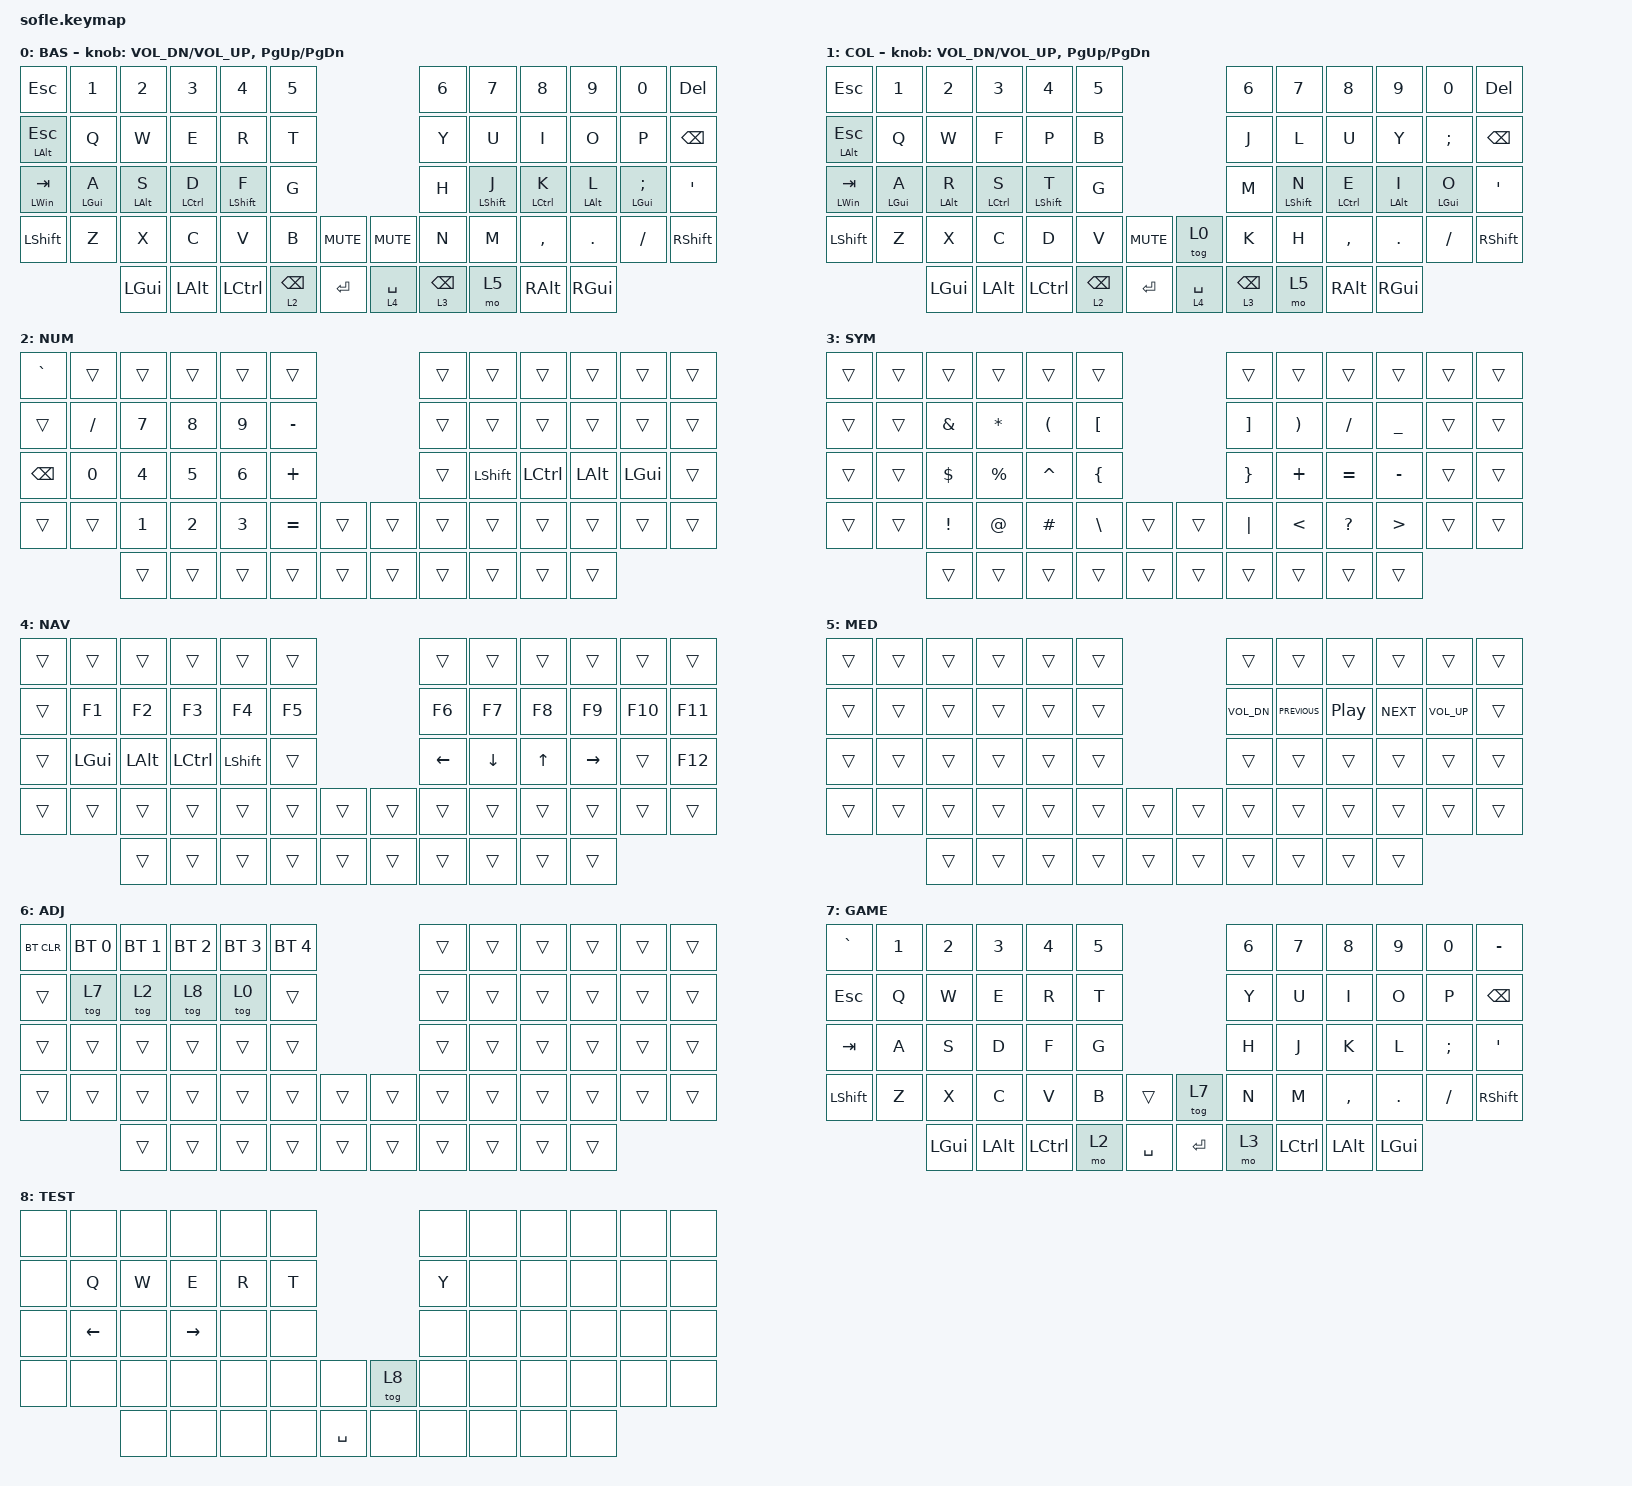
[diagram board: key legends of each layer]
/*
 * Copyright (c) 2020 The ZMK Contributors
 *
 * SPDX-License-Identifier: MIT
 */

#include <behaviors.dtsi>
#include <dt-bindings/zmk/bt.h>
#include <dt-bindings/zmk/keys.h>

/ {
    behaviors {
        hrl: hrl {
            compatible = "zmk,behavior-hold-tap";
            label = "HRL";
            bindings = <&kp>, <&kp>;

            #binding-cells = <2>;
            tapping-term-ms = <250>;
            quick-tap-ms = <175>;
            flavor = "balanced";
            require-prior-idle-ms = <150>;
            hold-trigger-key-positions = <31 32 33 34 6 8 6 7 8 9 10 18 19 20 21 22 23 30 31 32 33 34 35 43 44 45 46 47 48 49 55 56 57 58 59 11>;
            hold-trigger-on-release;
        };

        hrr: hrr {
            compatible = "zmk,behavior-hold-tap";
            label = "HRR";
            bindings = <&kp>, <&kp>;

            #binding-cells = <2>;
            tapping-term-ms = <250>;
            quick-tap-ms = <175>;
            flavor = "balanced";
            require-prior-idle-ms = <150>;
            hold-trigger-key-positions = <28 27 26 25 0 1 2 4 5 12 13 14 15 16 17 24 25 26 27 28 29 36 37 38 39 40 41 42 50 51 52 53 54>;
            hold-trigger-on-release;
        };

        HT_sym_backspace: HT_sym_backspace {
            compatible = "zmk,behavior-hold-tap";
            label = "HT_SYM_BACKSPACE";
            bindings = <&mo>, <&kp>;

            #binding-cells = <2>;
            tapping-term-ms = <180>;
            quick-tap-ms = <160>;
            flavor = "tap-preferred";
        };
    };

    keymap {
        compatible = "zmk,keymap";

        default_layer {
            display-name = "BAS";

            // ------------------------------------------------------------------------------------------------------------
            // |  `    |  1  |  2  |  3   |  4   |  5   |                   |  6   |  7    |  8    |  9   |   0   |       |
            // |  ESC  |  Q  |  W  |  E   |  R   |  T   |                   |  Y   |  U    |  I    |  O   |   P   | BKSPC |
            // |  TAB  |  A  |  S  |  D   |  F   |  G   |                   |  H   |  J    |  K    |  L   |   ;   |   '   |
            // | SHIFT |  Z  |  X  |  C   |  V   |  B   |  MUTE  |  |       |  N   |  M    |  ,    |  .   |   /   | SHIFT |
            //               | GUI | ALT  | CTRL | LOWER|  ENTER |  | SPACE | RAISE| CTRL  | ALT   | GUI  |

            bindings = <
&kp ESC              &kp N1           &kp N2           &kp N3        &kp N4             &kp N5                                      &kp N6                         &kp N7             &kp N8        &kp N9           &kp N0              &kp DEL
&mt LEFT_ALT ESCAPE  &kp Q            &kp W            &kp E         &kp R              &kp T                                       &kp Y                          &kp U              &kp I         &kp O            &kp P               &kp BSPC
&mt LEFT_WIN TAB     &hrl LEFT_GUI A  &hrl LEFT_ALT S  &hrl LCTRL D  &hrl LEFT_SHIFT F  &kp G                                       &kp H                          &hrr LEFT_SHIFT J  &hrr LCTRL K  &hrr LEFT_ALT L  &hrr LEFT_GUI SEMI  &kp SQT
&kp LSHFT            &kp Z            &kp X            &kp C         &kp V              &kp B            &kp C_MUTE    &kp C_MUTE   &kp N                          &kp M              &kp COMMA     &kp DOT          &kp FSLH            &kp RSHFT
                                      &kp LGUI         &kp LALT      &kp LCTRL          &lt 2 BACKSPACE  &kp ENTER     &lt 4 SPACE  &HT_sym_backspace 3 BACKSPACE  &mo 5              &kp RALT      &kp RGUI
            >;

            sensor-bindings =
                <&inc_dec_kp C_VOL_DN C_VOL_UP>,
                <&inc_dec_kp PG_UP PG_DN>;
        };

        colmak {
            display-name = "COL";
            bindings = <
&kp ESC              &kp N1           &kp N2           &kp N3        &kp N4             &kp N5                                      &kp N6                         &kp N7             &kp N8        &kp N9           &kp N0           &kp DELETE
&mt LEFT_ALT ESCAPE  &kp Q            &kp W            &kp F         &kp P              &kp B                                       &kp J                          &kp L              &kp U         &kp Y            &kp SEMI         &kp BSPC
&mt LEFT_WIN TAB     &hrl LEFT_GUI A  &hrl LEFT_ALT R  &hrl LCTRL S  &hrl LEFT_SHIFT T  &kp G                                       &kp M                          &hrr LEFT_SHIFT N  &hrr LCTRL E  &hrr LEFT_ALT I  &hrr LEFT_GUI O  &kp SQT
&kp LSHFT            &kp Z            &kp X            &kp C         &kp D              &kp V            &kp C_MUTE    &tog 0       &kp K                          &kp H              &kp COMMA     &kp DOT          &kp FSLH         &kp RSHFT
                                      &kp LGUI         &kp LALT      &kp LCTRL          &lt 2 BACKSPACE  &kp ENTER     &lt 4 SPACE  &HT_sym_backspace 3 BACKSPACE  &mo 5              &kp RALT      &kp RGUI
            >;

            sensor-bindings =
                <&inc_dec_kp C_VOL_DN C_VOL_UP>,
                <&inc_dec_kp PG_UP PG_DN>;
        };

        num_layer {
            display-name = "NUM";

            // ------------------------------------------------------------------------------------------------------------
            // | `     |  F1 |  F2 |  F3  |  F4  |  F5  |                   |  F6  |  F7   |  F8   |  F9  |  F10  |  F11  |
            // | RAISE |   1 |   2 |   3  |   4  |   5  |                   |   6  |   7   |   8   |   9  |    0  |  F12  |
            // |       |  !  |  @  |  #   |  $   |  %   |                   |  ^   |  &    |  *    |  (   |   )   |   |   |
            // |       |  =  |  -  |  +   |  {   |  }   |        |  |       |  [   |  ]    |  ;    |  :   |   \   |       |
            //               |     |      |      |      |        |  |       |      |       |       |      |

            bindings = <
&kp GRAVE  &trans    &trans  &trans  &trans  &trans                       &trans  &trans     &trans     &trans    &trans    &trans
&trans     &kp FSLH  &kp N7  &kp N8  &kp N9  &kp MINUS                    &trans  &trans     &trans     &trans    &trans    &trans
&kp BSPC   &kp N0    &kp N4  &kp N5  &kp N6  &kp PLUS                     &trans  &kp LSHFT  &kp LCTRL  &kp LALT  &kp LGUI  &trans
&trans     &trans    &kp N1  &kp N2  &kp N3  &kp EQUAL  &trans    &trans  &trans  &trans     &trans     &trans    &trans    &trans
                     &trans  &trans  &trans  &trans     &trans    &trans  &trans  &trans     &trans     &trans
            >;
        };

        sym_layer {
            bindings = <
&trans  &trans  &trans         &trans        &trans                &trans                              &trans             &trans                 &trans        &trans          &trans  &trans
&trans  &trans  &kp AMPERSAND  &kp ASTERISK  &kp LEFT_PARENTHESIS  &kp LEFT_BRACKET                    &kp RIGHT_BRACKET  &kp RIGHT_PARENTHESIS  &kp SLASH     &kp UNDERSCORE  &trans  &trans
&trans  &trans  &kp DOLLAR     &kp PERCENT   &kp CARET             &kp LEFT_BRACE                      &kp RIGHT_BRACE    &kp PLUS               &kp EQUAL     &kp MINUS       &trans  &trans
&trans  &trans  &kp EXCL       &kp AT        &kp HASH              &kp BACKSLASH     &trans    &trans  &kp PIPE           &kp LESS_THAN          &kp QUESTION  &kp GT          &trans  &trans
                &trans         &trans        &trans                &trans            &trans    &trans  &trans             &trans                 &trans        &trans
            >;

            label = "SYM";
        };

        nav_layer {
            bindings = <
&trans  &trans    &trans    &trans     &trans     &trans                    &trans          &trans          &trans        &trans           &trans   &trans
&trans  &kp F1    &kp F2    &kp F3     &kp F4     &kp F5                    &kp F6          &kp F7          &kp F8        &kp F9           &kp F10  &kp F11
&trans  &kp LGUI  &kp LALT  &kp LCTRL  &kp LSHFT  &trans                    &kp LEFT_ARROW  &kp DOWN_ARROW  &kp UP_ARROW  &kp RIGHT_ARROW  &trans   &kp F12
&trans  &trans    &trans    &trans     &trans     &trans  &trans    &trans  &trans          &trans          &trans        &trans           &trans   &trans
                  &trans    &trans     &trans     &trans  &trans    &trans  &trans          &trans          &trans        &trans
            >;

            label = "NAV";
        };

        media_layer {
            bindings = <
&trans  &trans  &trans  &trans  &trans  &trans                    &trans        &trans          &trans            &trans      &trans           &trans
&trans  &trans  &trans  &trans  &trans  &trans                    &kp C_VOL_DN  &kp C_PREVIOUS  &kp C_PLAY_PAUSE  &kp C_NEXT  &kp C_VOLUME_UP  &trans
&trans  &trans  &trans  &trans  &trans  &trans                    &trans        &trans          &trans            &trans      &trans           &trans
&trans  &trans  &trans  &trans  &trans  &trans  &trans    &trans  &trans        &trans          &trans            &trans      &trans           &trans
                &trans  &trans  &trans  &trans  &trans    &trans  &trans        &trans          &trans            &trans
            >;

            label = "MED";
        };

        adjust_layer {
            display-name = "ADJ";
            bindings = <
&bt BT_CLR  &bt BT_SEL 0  &bt BT_SEL 1  &bt BT_SEL 2  &bt BT_SEL 3  &bt BT_SEL 4                    &trans  &trans  &trans  &trans  &trans  &trans
&trans      &tog 7        &tog 2        &tog 8        &tog 0        &trans                          &trans  &trans  &trans  &trans  &trans  &trans
&trans      &trans        &trans        &trans        &trans        &trans                          &trans  &trans  &trans  &trans  &trans  &trans
&trans      &trans        &trans        &trans        &trans        &trans        &trans    &trans  &trans  &trans  &trans  &trans  &trans  &trans
                          &trans        &trans        &trans        &trans        &trans    &trans  &trans  &trans  &trans  &trans
            >;
        };

        game_layer {
            bindings = <
&kp GRAVE  &kp N1  &kp N2    &kp N3    &kp N4     &kp N5                          &kp N6  &kp N7     &kp N8     &kp N9    &kp N0    &kp MINUS
&kp ESC    &kp Q   &kp W     &kp E     &kp R      &kp T                           &kp Y   &kp U      &kp I      &kp O     &kp P     &kp BSPC
&kp TAB    &kp A   &kp S     &kp D     &kp F      &kp G                           &kp H   &kp J      &kp K      &kp L     &kp SEMI  &kp APOS
&kp LSHFT  &kp Z   &kp X     &kp C     &kp V      &kp B   &trans       &tog 7     &kp N   &kp M      &kp COMMA  &kp DOT   &kp FSLH  &kp RSHFT
                   &kp LGUI  &kp LALT  &kp LCTRL  &mo 2   &kp SPACE    &kp ENTER  &mo 3   &kp LCTRL  &kp LALT   &kp LGUI
            >;

            label = "GAME";
        };

        game_test_layer {
            bindings = <
&none  &none           &none  &none      &none  &none                       &none  &none  &none  &none  &none  &none
&none  &kp Q           &kp W  &kp E      &kp R  &kp T                       &kp Y  &none  &none  &none  &none  &none
&none  &kp LEFT_ARROW  &none  &kp RIGHT  &none  &none                       &none  &none  &none  &none  &none  &none
&none  &none           &none  &none      &none  &none  &none        &tog 8  &none  &none  &none  &none  &none  &none
                       &none  &none      &none  &none  &kp SPACE    &none   &none  &none  &none  &none
            >;

            label = "TEST";
        };
    };

    conditional_layers {
        compatible = "zmk,conditional-layers";

        adjust {
            if-layers = <2 3>;
            then-layer = <6>;
        };
    };
};
